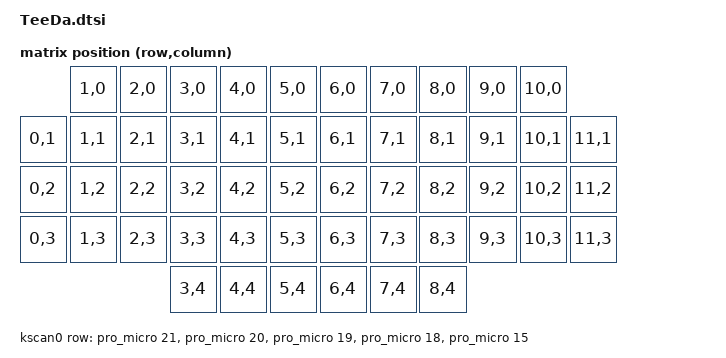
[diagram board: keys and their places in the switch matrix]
#include "TeeDa-layouts.dtsi"
#include <dt-bindings/zmk/matrix_transform.h>
/ {
    chosen {
        zmk,physical-layout = &TeeDa_physical_layout;
    };
};
/ {
    kscan0: kscan0 {
        compatible = "zmk,kscan-gpio-matrix";
        diode-direction = "col2row";
        wakeup-source;

        row-gpios
            = <&pro_micro 21 (GPIO_ACTIVE_HIGH | GPIO_PULL_DOWN)>
            , <&pro_micro 20 (GPIO_ACTIVE_HIGH | GPIO_PULL_DOWN)>
            , <&pro_micro 19 (GPIO_ACTIVE_HIGH | GPIO_PULL_DOWN)>
            , <&pro_micro 18 (GPIO_ACTIVE_HIGH | GPIO_PULL_DOWN)>
            , <&pro_micro 15 (GPIO_ACTIVE_HIGH | GPIO_PULL_DOWN)>
            ;
    };
    default_transform: keymap_transform0 {
        compatible = "zmk,matrix-transform";
        columns = <12>;
        rows = <5>;
        map = <
        //         |LKey 1 |LKey 2 |LKey 3 |LKey 4 |LKey 5         RKey 1 |RKey 2 |RKey 3 |RKey 4 |RKey 5 |
                    RC(1,0) RC(2,0) RC(3,0) RC(4,0) RC(5,0)        RC(6,0) RC(7,0) RC(8,0) RC(9,0) RC(10,0)
        //  LKey 6 |LKey 7 |LKey 8 |LKey 9 |LKey 10 |LKey 11       RKey 6 |RKey 7 |RKey 8 |RKey 9 |RKey 10 |RKey 11
            RC(0,1) RC(1,1) RC(2,1) RC(3,1) RC(4,1) RC(5,1)        RC(6,1) RC(7,1) RC(8,1) RC(9,1) RC(10,1) RC(11,1)
        //  LKey 12 |LKey 13 |LKey 14 |LKey 15 |LKey 16 |LKey 17   RKey 12 |RKey 13 |RKey 14 |RKey 15 |RKey 16 |RKey 17
            RC(0,2) RC(1,2) RC(2,2) RC(3,2) RC(4,2) RC(5,2)        RC(6,2) RC(7,2) RC(8,2) RC(9,2) RC(10,2) RC(11,2)
        //  LKey 18 |LKey 19 |LKey 20 |LKey 21 |LKey 22 |LKey 23   RKey 18 |RKey 19 |RKey 20 |RKey 21 |RKey 22 |RKey 23
            RC(0,3) RC(1,3) RC(2,3) RC(3,3) RC(4,3) RC(5,3)        RC(6,3) RC(7,3) RC(8,3) RC(9,3) RC(10,3) RC(11,3)
        //                            |LKey 24 |LKey 25 |LKey 26   RKey 24 |RKey 25 |RKey 26|
                                       RC(3,4) RC(4,4) RC(5,4)     RC(6,4) RC(7,4) RC(8,4)
        >;
    };
};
